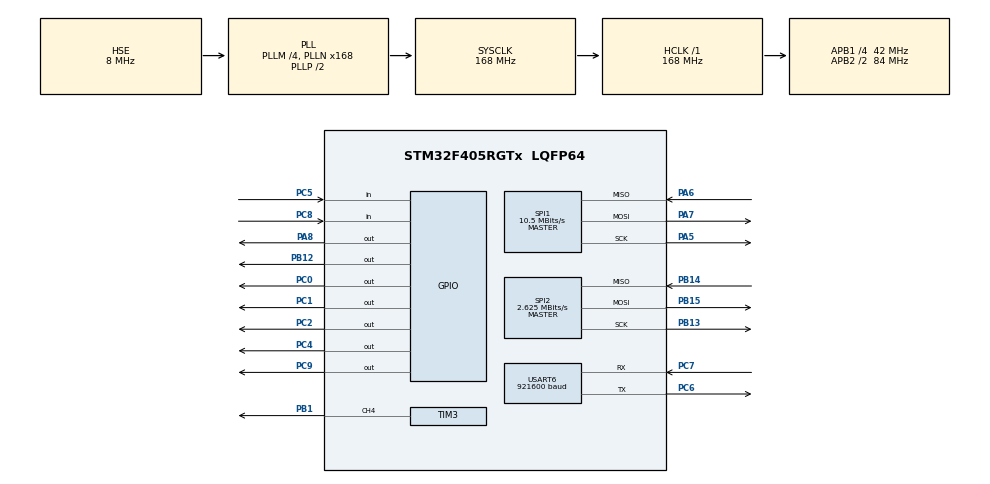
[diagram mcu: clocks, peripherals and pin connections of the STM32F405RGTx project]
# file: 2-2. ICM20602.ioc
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Mcu.Family=STM32F4
Mcu.Name=STM32F405RGTx
Mcu.Package=LQFP64
NVIC.PriorityGroup=NVIC_PRIORITYGROUP_4
NVIC.USART6_IRQn=true\:0\:0\:false\:false\:true\:true\:true\:true
PA5.Mode=Full_Duplex_Master
PA5.Signal=SPI1_SCK
PA6.Mode=Full_Duplex_Master
PA6.Signal=SPI1_MISO
PA7.Mode=Full_Duplex_Master
PA7.Signal=SPI1_MOSI
PA8.Signal=GPIO_Output
PB1.Signal=S_TIM3_CH4
PB12.Signal=GPIO_Output
PB13.Mode=Full_Duplex_Master
PB13.Signal=SPI2_SCK
PB14.Mode=Full_Duplex_Master
PB14.Signal=SPI2_MISO
PB15.Mode=Full_Duplex_Master
PB15.Signal=SPI2_MOSI
PC0.Signal=GPIO_Output
PC1.Signal=GPIO_Output
PC2.Signal=GPIO_Output
PC4.Signal=GPIO_Output
PC5.Signal=GPIO_Input
PC6.Mode=Asynchronous
PC6.Signal=USART6_TX
PC7.Mode=Asynchronous
PC7.Signal=USART6_RX
PC8.Signal=GPIO_Input
PC9.Signal=GPIO_Output
PH0-OSC_IN.Mode=HSE-External-Oscillator
PH0-OSC_IN.Signal=RCC_OSC_IN
PH1-OSC_OUT.Mode=HSE-External-Oscillator
PH1-OSC_OUT.Signal=RCC_OSC_OUT
ProjectManager.HeapSize=0x200
ProjectManager.StackSize=0x400
ProjectManager.TargetToolchain=STM32CubeIDE
RCC.48MHZClocksFreq_Value=84000000
RCC.AHBFreq_Value=168000000
RCC.APB1CLKDivider=RCC_HCLK_DIV4
RCC.APB1Freq_Value=42000000
RCC.APB1TimFreq_Value=84000000
RCC.APB2CLKDivider=RCC_HCLK_DIV2
RCC.APB2Freq_Value=84000000
RCC.APB2TimFreq_Value=168000000
RCC.CortexFreq_Value=168000000
RCC.HCLKFreq_Value=168000000
RCC.HSE_VALUE=8000000
RCC.HSI_VALUE=16000000
RCC.LSE_VALUE=32768
RCC.PLLM=4
RCC.PLLN=168
RCC.PLLSourceVirtual=RCC_PLLSOURCE_HSE
RCC.SYSCLKFreq_VALUE=168000000
RCC.SYSCLKSource=RCC_SYSCLKSOURCE_PLLCLK
RCC.VCOOutputFreq_Value=336000000
SH.S_TIM3_CH4.0=TIM3_CH4,PWM Generation4 CH4
SPI1.BaudRatePrescaler=SPI_BAUDRATEPRESCALER_8
SPI1.CLKPhase=SPI_PHASE_2EDGE
SPI1.CLKPolarity=SPI_POLARITY_HIGH
SPI1.CalculateBaudRate=10.5 MBits/s
SPI1.Direction=SPI_DIRECTION_2LINES
SPI1.Mode=SPI_MODE_MASTER
SPI1.VirtualType=VM_MASTER
SPI2.BaudRatePrescaler=SPI_BAUDRATEPRESCALER_16
SPI2.CLKPhase=SPI_PHASE_2EDGE
SPI2.CLKPolarity=SPI_POLARITY_HIGH
SPI2.CalculateBaudRate=2.625 MBits/s
SPI2.Direction=SPI_DIRECTION_2LINES
SPI2.Mode=SPI_MODE_MASTER
SPI2.VirtualType=VM_MASTER
TIM3.AutoReloadPreload=TIM_AUTORELOAD_PRELOAD_ENABLE
TIM3.Channel-PWM\ Generation4\ CH4=TIM_CHANNEL_4
TIM3.OCFastMode_PWM-PWM\ Generation4\ CH4=TIM_OCFAST_ENABLE
TIM3.Period=20
TIM3.Prescaler=999
TIM3.Pulse-PWM\ Generation4\ CH4=10
USART6.BaudRate=921600
USART6.VirtualMode=VM_ASYNC
VP_TIM3_VS_ClockSourceINT.Mode=Internal
board=custom

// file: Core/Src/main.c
/* USER CODE BEGIN Header */
/**
  ******************************************************************************
  * @file           : main.c
  * @brief          : Main program body
  ******************************************************************************
  * @attention
  *
  * Copyright (c) 2026 STMicroelectronics.
  * All rights reserved.
  *
  * This software is licensed under terms that can be found in the LICENSE file
  * in the root directory of this software component.
  * If no LICENSE file comes with this software, it is provided AS-IS.
  *
  ******************************************************************************
  */
/* USER CODE END Header */
#include "main.h"
#include "spi.h"
#include "tim.h"
#include "usart.h"
#include "gpio.h"

/* USER CODE BEGIN Includes */
#include "bno080.h"
#include "quaternion.h"
#include "icm20602.h"
/* USER CODE END Includes */

/* USER CODE BEGIN PTD */
int _write(int file, char* p, int len)
{
	for(int i=0; i<len;i++) {
		LL_USART_TransmitData8(USART6, *(p+i));
		HAL_Delay(1);
	}
	return len;
}
/* USER CODE END PTD */

void SystemClock_Config(void);

int main(void)
{

  /* USER CODE BEGIN 1 */
	float q[4];
	float quatRadianAccuracy;
	uint32_t prevTick = 0;
	uint32_t sampleCount = 0;
  /* USER CODE END 1 */

  /* MCU Configuration--------------------------------------------------------*/

  /* Reset of all peripherals, Initializes the Flash interface and the Systick. */
  HAL_Init();

  /* Configure the system clock */
  SystemClock_Config();

  /* Initialize all configured peripherals */
  MX_GPIO_Init();
  MX_TIM3_Init();
  MX_USART6_UART_Init();
  MX_SPI2_Init();
  MX_SPI1_Init();
  /* USER CODE BEGIN 2 */
  LL_TIM_EnableCounter(TIM3);
  LL_TIM_CC_EnableChannel(TIM3, LL_TIM_CHANNEL_CH4);
  TIM3->PSC = 2000;
  HAL_Delay(100);
  TIM3->PSC = 1500;
  HAL_Delay(100);
  TIM3->PSC = 1000;
  HAL_Delay(100);

  LL_TIM_CC_DisableChannel(TIM3, LL_TIM_CHANNEL_CH4);
  LL_USART_EnableIT_RXNE(USART6);
  BNO080_Initialization();
  BNO080_enableRotationVector(2500);

  ICM20602_Initialization();
  /* USER CODE END 2 */

  /* Infinite loop */
  while (1)
  {

    /* USER CODE BEGIN 3 */

//	if(BNO080_dataAvailable() == 1) {
//
//		//LL_GPIO_TogglePin(GPIOC, LL_GPIO_PIN_0);
//		  //sampleCount++;
//		q[0] = BNO080_getQuatI();
//		q[1] = BNO080_getQuatJ();
//		q[2] = BNO080_getQuatK();
//		q[3] = BNO080_getQuatReal();
//		quatRadianAccuracy = BNO080_getQuatRadianAccuracy();
//
//		Quaternion_Update(&q[0]);
//		printf("%d, %d, %d \n",(int)(BNO080_Roll*100), (int)(BNO080_Pitch*100), (int)(BNO080_Yaw*100));
//	}
//	  if(HAL_GetTick() - prevTick >= 1000) {
//	      printf("freq = %lu\r\n", sampleCount);
//	      sampleCount = 0;
//	      prevTick = HAL_GetTick();
//	  }
	  if(ICM20602_DataReady() == 1) {
		  ICM20602_Get3AxisGyroRawData(&ICM20602.gyro_x_raw);
		  printf("%d,%d,%d\r\n",ICM20602.gyro_x_raw, ICM20602.gyro_y_raw,ICM20602.gyro_z_raw);
	  }
  }
  /* USER CODE END 3 */
}

void SystemClock_Config(void)
{
  RCC_OscInitTypeDef RCC_OscInitStruct = {0};
  RCC_ClkInitTypeDef RCC_ClkInitStruct = {0};

  /** Configure the main internal regulator output voltage
  */
  __HAL_RCC_PWR_CLK_ENABLE();
  __HAL_PWR_VOLTAGESCALING_CONFIG(PWR_REGULATOR_VOLTAGE_SCALE1);

  /** Initializes the RCC Oscillators according to the specified parameters
  * in the RCC_OscInitTypeDef structure.
  */
  RCC_OscInitStruct.OscillatorType = RCC_OSCILLATORTYPE_HSE;
  RCC_OscInitStruct.HSEState = RCC_HSE_ON;
  RCC_OscInitStruct.PLL.PLLState = RCC_PLL_ON;
  RCC_OscInitStruct.PLL.PLLSource = RCC_PLLSOURCE_HSE;
  RCC_OscInitStruct.PLL.PLLM = 4;
  RCC_OscInitStruct.PLL.PLLN = 168;
  RCC_OscInitStruct.PLL.PLLP = RCC_PLLP_DIV2;
  RCC_OscInitStruct.PLL.PLLQ = 4;
  if (HAL_RCC_OscConfig(&RCC_OscInitStruct) != HAL_OK)
  {
    Error_Handler();
  }

  /** Initializes the CPU, AHB and APB buses clocks
  */
  RCC_ClkInitStruct.ClockType = RCC_CLOCKTYPE_HCLK|RCC_CLOCKTYPE_SYSCLK
                              |RCC_CLOCKTYPE_PCLK1|RCC_CLOCKTYPE_PCLK2;
  RCC_ClkInitStruct.SYSCLKSource = RCC_SYSCLKSOURCE_PLLCLK;
  RCC_ClkInitStruct.AHBCLKDivider = RCC_SYSCLK_DIV1;
  RCC_ClkInitStruct.APB1CLKDivider = RCC_HCLK_DIV4;
  RCC_ClkInitStruct.APB2CLKDivider = RCC_HCLK_DIV2;

  if (HAL_RCC_ClockConfig(&RCC_ClkInitStruct, FLASH_LATENCY_5) != HAL_OK)
  {
    Error_Handler();
  }
}

void Error_Handler(void)
{
  __disable_irq();
  while (1)
  {
  }
}
